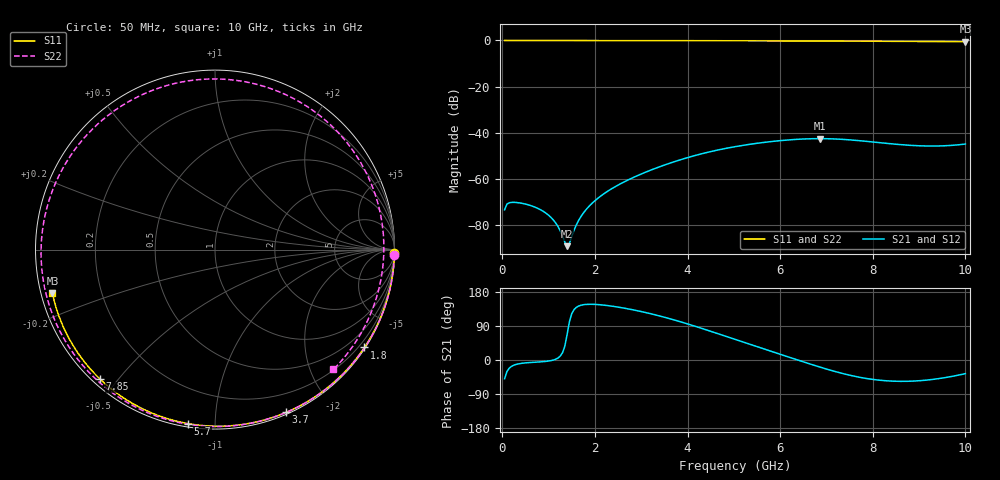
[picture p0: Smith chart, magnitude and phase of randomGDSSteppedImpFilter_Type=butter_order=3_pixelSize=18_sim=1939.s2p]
! freq	dB(S11)	phase(S11)	dB(S12)	phase(S12)
!  dB(S21)	phase(S21)	dB(S22)	phase(S22)
!S-par simulation data
#  GHz  S  DB  R 50
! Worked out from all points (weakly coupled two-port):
!   200 points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, 50 MHz to 10 GHz, reference 50 ohm
!   highest |S21| = -42.55 dB at 6.85 GHz (marker M1); lowest = -89.1 dB at 1.4 GHz (marker M2)
!   lowest |S11| = -0.6 dB at 10 GHz (marker M3), VSWR 31.27, Z = 1.63 - j6.58 ohm
!   |S11| at or under -10 dB: nowhere
!   |S22| runs from -0.6 to 0.0 dB; largest |S21 - S12| = 0
!   S11 on the Smith chart (normalised r, x): 50 MHz: open; 1.8 GHz: 0.03, -3.35; 3.7 GHz: 0.02, -1.53; 5.7 GHz: 0.02, -0.86; 7.85 GHz: 0.02, -0.45; 10 GHz: 0.03, -0.13
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0.05  -0.00 -0.9  -73.37 -49.4  -73.37 -49.4  -0.00 -1.8
0.15  -0.00 -2.8  -70.35 -21.6  -70.35 -21.6  -0.00 -5.3
0.5  -0.01 -9.4  -70.89 -7.6  -70.89 -7.6  -0.01 -17.7
0.9  -0.02 -16.8  -74.25 -4.2  -74.25 -4.2  -0.03 -31.8
1.2  -0.03 -22.3  -80.54 5.0  -80.54 5.0  -0.04 -42.3
1.4  -0.03 -26.0  -89.15 67.3  -89.15 67.3  -0.06 -49.3
1.6  -0.04 -29.6  -79.87 139.1  -79.87 139.1  -0.07 -56.2
1.75  -0.04 -32.3  -74.82 145.8  -74.82 145.8  -0.08 -61.4
1.8  -0.04 -33.2  -73.54 146.6  -73.54 146.6  -0.08 -63.1
2.4  -0.06 -43.9  -63.80 141.5  -63.80 141.5  -0.12 -83.7
3.4  -0.08 -61.3  -54.71 116.1  -54.71 116.1  -0.15 -118.1
3.7  -0.09 -66.4  -52.63 106.1  -52.63 106.1  -0.17 -128.7
4.4  -0.11 -78.0  -48.63 79.8  -48.63 79.8  -0.21 -154.2
5.05  -0.14 -88.5  -45.94 53.4  -45.94 53.4  -0.27 -179.3
5.7  -0.17 -98.7  -44.06 27.1  -44.06 27.1  -0.34 153.4
6.7  -0.22 -114.1  -42.58 -12.6  -42.58 -12.6  -0.42 106.2
6.85  -0.23 -116.4  -42.55 -18.4  -42.55 -18.4  -0.43 98.6
7.35  -0.27 -124.0  -42.86 -35.7  -42.86 -35.7  -0.45 72.6
7.85  -0.31 -131.5  -43.69 -48.5  -43.69 -48.5  -0.47 46.4
8.35  -0.36 -139.1  -44.70 -55.3  -44.70 -55.3  -0.50 21.2
9.05  -0.43 -149.9  -45.68 -54.3  -45.68 -54.3  -0.54 -10.6
10  -0.56 -165.0  -44.89 -36.0  -44.89 -36.0  -0.55 -45.3
